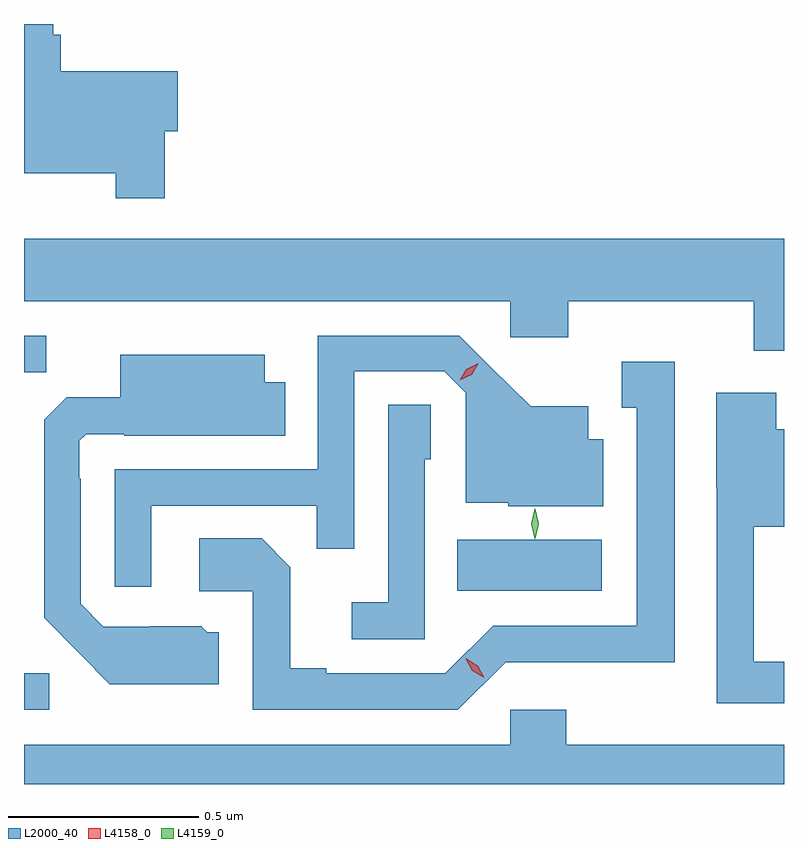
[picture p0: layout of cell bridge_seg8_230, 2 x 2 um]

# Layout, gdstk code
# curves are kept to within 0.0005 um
import gdstk
lib = gdstk.Library(unit=1e-6, precision=1e-09)
def R(c, l, rs):  # rectangles x0, y0, x1, y1
    for r in rs: c.add(gdstk.rectangle(r[:2], r[2:], *l))
def P(c, l, *ps):  # polygons
    for p in ps: c.add(gdstk.Polygon(p, *l))
L2000_40 = (2000, 40)
L4158_0 = (4158, 0)
L4159_0 = (4159, 0)

bridge_seg8_230 = lib.new_cell('bridge_seg8_230')
R(bridge_seg8_230, L2000_40, [(120.91,1120.752,120.976,1120.848), (122.05,1121.066,122.431,1121.2), (120.91,1121.641,120.969,1121.736)])
P(bridge_seg8_230, L2000_40, [(121.28,1122.275),(121.315,1122.275),(121.315,1122.433),(121.007,1122.433),(121.007,1122.529),(120.987,1122.529),(120.987,1122.557),(120.91,1122.557),(120.91,1122.164),(121.152,1122.164),(121.152,1122.099),(121.28,1122.099)],
  [(122.91,1121.992),(120.91,1121.992),(120.91,1121.828),(122.19,1121.828),(122.19,1121.733),(122.342,1121.733),(122.342,1121.828),(122.831,1121.828),(122.831,1121.697),(122.91,1121.697)],
  [(121.245,1121.289),(121.681,1121.289),(121.681,1121.176),(121.779,1121.176),(121.779,1121.643),(122.016,1121.643),(122.073,1121.586),(122.073,1121.297),(122.184,1121.297),(122.184,1121.288),(122.434,1121.288),(122.434,1121.464),(122.395,1121.464),(122.395,1121.551),(122.243,1121.551),(122.056,1121.736),(121.683,1121.736),(121.683,1121.385),(121.149,1121.385),(121.149,1121.076),(121.245,1121.076)],
  [(121.423,1120.956),(121.392,1120.956),(121.376,1120.972),(121.242,1120.972),(121.242,1120.971),(121.119,1120.971),(121.059,1121.031),(121.059,1121.36),(121.056,1121.36),(121.056,1121.46),(121.074,1121.478),(121.174,1121.478),(121.174,1121.474),(121.598,1121.474),(121.598,1121.614),(121.543,1121.614),(121.543,1121.686),(121.163,1121.686),(121.163,1121.575),(121.022,1121.575),(120.963,1121.516),(120.963,1120.994),(121.135,1120.82),(121.423,1120.82)],
  [(122.178,1120.878),(122.4,1120.878),(122.4,1120.877),(122.623,1120.877),(122.623,1121.668),(122.483,1121.668),(122.483,1121.547),(122.522,1121.547),(122.522,1120.974),(122.145,1120.974),(122.019,1120.848),(121.705,1120.848),(121.705,1120.861),(121.611,1120.861),(121.611,1121.128),(121.535,1121.204),(121.371,1121.204),(121.371,1121.064),(121.512,1121.064),(121.512,1120.752),(122.052,1120.752)],
  [(122.91,1120.879),(122.831,1120.879),(122.831,1121.234),(122.91,1121.234),(122.91,1121.491),(122.89,1121.491),(122.89,1121.587),(122.732,1121.587),(122.732,1121.338),(122.733,1121.338),(122.733,1120.77),(122.91,1120.77)],
  [(121.965,1121.412),(121.98,1121.412),(121.98,1121.555),(121.869,1121.555),(121.869,1121.035),(121.773,1121.035),(121.773,1120.938),(121.965,1120.938)],
  [(122.91,1120.66),(122.337,1120.66),(122.337,1120.753),(122.19,1120.753),(122.19,1120.66),(120.91,1120.66),(120.91,1120.557),(122.91,1120.557)])
P(bridge_seg8_230, L4158_0, [(122.121,1120.836),(122.089,1120.855),(122.072,1120.887),(122.072,1120.888),(122.072,1120.888),(122.104,1120.868),(122.121,1120.836),(122.121,1120.836)],
  [(122.057,1121.619),(122.057,1121.619),(122.074,1121.648),(122.105,1121.664),(122.105,1121.664),(122.105,1121.663),(122.088,1121.634),(122.057,1121.619)])
P(bridge_seg8_230, L4159_0, [(122.254,1121.203),(122.245,1121.242),(122.254,1121.281),(122.255,1121.282),(122.255,1121.281),(122.265,1121.242),(122.255,1121.203),(122.255,1121.203)])

lib.write_gds('bridge_seg8_230.gds')
